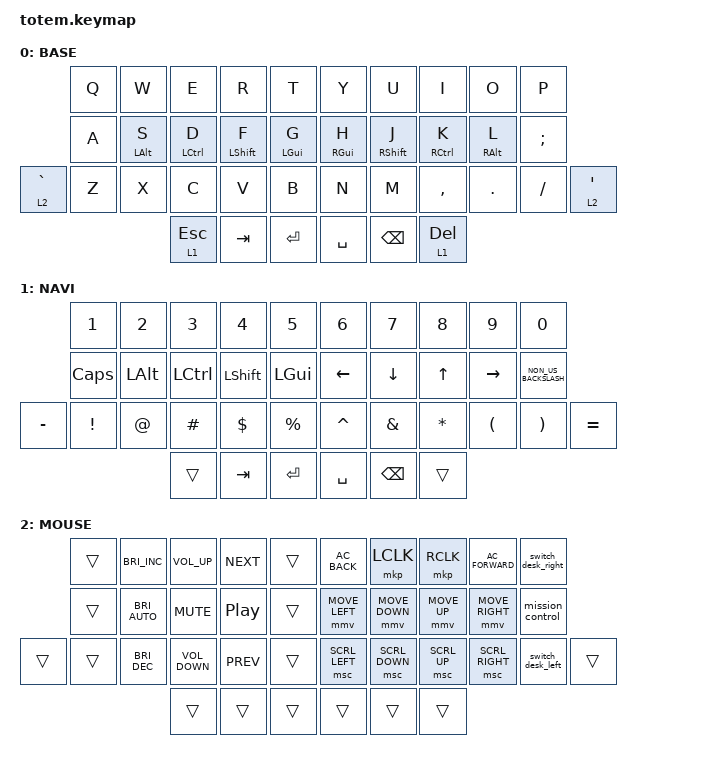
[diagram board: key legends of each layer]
//
//                                                        ▀▀▀▀▀     ▀▀▀▀▀          ▀▀█▀▀
//                                                        ▄▀▀▀▄  ▄  ▄▀▀▀▄  ▄  ▄▀▀▀▄  █  ▄▀▀▀▄
//                                                        █   █  █  █   █  █  █   █  █  █   █
//                                                         ▀▀▀   █   ▀▀▀   █   ▀▀▀   ▀   ▀▀▀
//                                                               █      ▄▄▄█▄▄▄    █   █  
//                                                               ▀      █  █  █     █▄█
//                                                             ▀▀▀▀▀    █  █  █      ▀
//                                                                      ▀  ▀  ▀
//
// ▄▄▄▄▄▄▄▄▄▄▄▄▄▄▄▄▄▄▄▄▄▄▄▄▄▄▄▄▄▄▄▄▄▄▄▄▄▄▄▄▄▄▄▄▄▄▄▄▄▄▄▄▄▄▄▄▄▄▄▄▄▄▄▄▄▄▄▄▄▄▄▄▄▄▄▄▄▄▄▄▄▄▄▄▄▄▄▄▄▄▄▄▄▄▄▄▄▄▄▄▄▄▄▄▄▄▄▄▄▄▄▄▄▄▄▄▄▄▄▄▄▄▄▄▄▄▄▄▄▄▄▄▄▄▄▄▄▄▄▄▄▄▄▄▄▄▄▄▄

#include <behaviors.dtsi>
#include <dt-bindings/zmk/bt.h>
#include <dt-bindings/zmk/keys.h>
#include <dt-bindings/zmk/pointing.h>

#define BASE 0
#define NAV  1
#define SYM  2
#define ADJ  3
#define TVP1 4
#define TVP2 5

&mt {
    quick-tap-ms = <100>;
    global-quick-tap;
    flavor = "tap-preferred";
    tapping-term-ms = <170>;
};

&mmv {
    acceleration-exponent = <1>;
    time-to-max-speed-ms = <300>;
    delay-ms = <0>;
};

&msc {
    acceleration-exponent = <0>;
    time-to-max-speed-ms = <300>;
    delay-ms = <0>;
};

/ {
    combos {
        compatible = "zmk,combos";

        spotlight_right {
            bindings = <&kp RG(SPACE)>;
            key-positions = <16 17 18>;
        };

        copy {
            bindings = <&kp LG(C)>;
            key-positions = <22 23>;
        };

        paste {
            bindings = <&kp LG(V)>;
            key-positions = <23 24>;
        };

        esc {
            bindings = <&kp ESC>;
            key-positions = <16 17>;
        };

        left_bootloader {
            bindings = <&bootloader>;
            key-positions = <34 10 11 12 13>;
        };

        right_boodloader {
            bindings = <&bootloader>;
            key-positions = <35 16 18 17 19>;
        };

        left_sysreset {
            bindings = <&sys_reset>;
            key-positions = <10 11 12 13 32>;
        };

        right_reset {
            bindings = <&sys_reset>;
            key-positions = <37 16 17 18 19>;
        };

        l2 {
            bindings = <&to 2>;
            key-positions = <3 1 2>;
        };

        l1 {
            bindings = <&to 1>;
            key-positions = <11 12 13>;
        };

        l0 {
            bindings = <&to 0>;
            key-positions = <22 23 24>;
        };

        open_brace {
            bindings = <&kp LEFT_PARENTHESIS>;
            key-positions = <3 4>;
        };

        Open_curly {
            bindings = <&kp LEFT_BRACE>;
            key-positions = <14 13>;
        };

        open_sq_bckt {
            bindings = <&kp LEFT_BRACKET>;
            key-positions = <24 25>;
        };

        close_bckt {
            bindings = <&kp RIGHT_PARENTHESIS>;
            key-positions = <5 6>;
        };

        close_curly_bckt {
            bindings = <&kp RIGHT_BRACE>;
            key-positions = <15 16>;
        };

        close_sq_bkt {
            bindings = <&kp RIGHT_BRACKET>;
            key-positions = <26 27>;
        };

        bluetooth_clear {
            bindings = <&bt BT_CLR_ALL>;
            key-positions = <20 31>;
        };

        bt_next {
            bindings = <&bt BT_NXT>;
            key-positions = <35 36 37>;
        };

        bt_prev {
            bindings = <&bt BT_PRV>;
            key-positions = <32 33 34>;
        };

        ai {
            bindings = <&kp LA(SPACE)>;
            key-positions = <6 7 8>;
        };
    };

    macros {
        mission_control: mission_control {
            compatible = "zmk,behavior-macro";
            #binding-cells = <0>;
            bindings = <&kp LC(UP)>;
            label = "MISSION_CONTROL";
        };

        switch_desk_left: switch_desk_left {
            compatible = "zmk,behavior-macro";
            #binding-cells = <0>;
            bindings = <&kp LC(LEFT)>;
            label = "SWITCH_DESK_LEFT";
        };

        switch_desk_right: switch_desk_right {
            compatible = "zmk,behavior-macro";
            #binding-cells = <0>;
            bindings = <&kp LC(RIGHT)>;
            label = "SWITCH_DESK_RIGHT";
        };
    };

    keymap {
        compatible = "zmk,keymap";

        // ▄▄▄▄▄▄▄▄▄▄▄▄▄▄▄▄▄▄▄▄▄▄▄▄▄▄▄▄▄▄▄▄▄▄▄▄▄▄▄▄▄▄▄▄▄▄▄▄▄▄▄▄▄▄▄▄▄▄▄▄▄▄▄▄▄▄▄▄▄▄▄▄▄▄▄▄▄▄▄▄▄▄▄▄▄▄▄▄▄▄▄▄▄▄▄▄▄▄▄▄▄▄▄▄▄▄▄▄▄▄▄▄▄▄▄▄▄▄▄▄▄▄▄▄▄▄▄▄▄▄▄▄▄▄▄▄▄▄▄▄▄▄▄▄▄▄▄▄▄

        base_layer {
            // ┏━━━━━━━━━━━━━━━━━━━━━━━━━━━━━━━━━━━━━━━┓

            label = "BASE";

            // ┗━━━━━━━━━━━━━━━━━━━━━━━━━━━━━━━━━━━━━━━┛
            //             ┏━━━━━━━━━━━┳━━━━━━━━━━━┳━━━━━━━━━━━┳━━━━━━━━━━━┳━━━━━━━━━━━┓   ┏━━━━━━━━━━━┳━━━━━━━━━━━┳━━━━━━━━━━━┳━━━━━━━━━━━┳━━━━━━━━━━━┓
            //             ┃     Q     ┃     W     ┃     F     ┃     P     ┃     G     ┃   ┃     J     ┃     L     ┃     U     ┃     Y     ┃     ;     ┃
            //             ┣━━━━━━━━━━━╋━━━━━━━━━━━╋━━━━━━━━━━━╋━━━━━━━━━━━╋━━━━━━━━━━━┫   ┣━━━━━━━━━━━╋━━━━━━━━━━━╋━━━━━━━━━━━╋━━━━━━━━━━━╋━━━━━━━━━━━┫
            //             ┃     A     ┃     R     ┃     S     ┃     T     ┃     D     ┃   ┃     H     ┃     N     ┃     E     ┃     I     ┃     O     ┃
            // ┏━━━━━━━━━━━╋━━━━━━━━━━━╋━━━━━━━━━━━╋━━━━━━━━━━━╋━━━━━━━━━━━╋━━━━━━━━━━━┫   ┣━━━━━━━━━━━╋━━━━━━━━━━━╋━━━━━━━━━━━╋━━━━━━━━━━━╋━━━━━━━━━━━╋━━━━━━━━━━━┓
            // ┃     Q     ┃     Z     ┃     X     ┃     C     ┃     V     ┃     B     ┃   ┃     K     ┃     M     ┃     ,     ┃     .     ┃     /     ┃     \     ┃
            // ┗━━━━━━━━━━━┻━━━━━━━━━━━┻━━━━━━━━━━━╋━━━━━━━━━━━╋━━━━━━━━━━━╋━━━━━━━━━━━┫   ┣━━━━━━━━━━━╋━━━━━━━━━━━╋━━━━━━━━━━━╋━━━━━━━━━━━┻━━━━━━━━━━━┻━━━━━━━━━━━┛
            //                                     ┃    DEL    ┃    TAB    ┃    SPC    ┃   ┃   ENTER   ┃           ┃   BSPC    ┃
            //                                     ┗━━━━━━━━━━━┻━━━━━━━━━━━┻━━━━━━━━━━━┛   ┗━━━━━━━━━━━┻━━━━━━━━━━━┻━━━━━━━━━━━┛

            bindings = <
             &kp Q  &kp W       &kp E         &kp R        &kp T         &kp Y       &kp U          &kp I         &kp O       &kp P
             &kp A  &mt LALT S  &mt LCTRL D   &mt LSHFT F  &mt LGUI G    &mt RGUI H  &mt RSHFT J    &mt RCTRL K   &mt RALT L  &kp SEMI
&lt 2 GRAVE  &kp Z  &kp X       &kp C         &kp V        &kp B         &kp N       &kp M          &kp COMMA     &kp DOT     &kp FSLH  &lt 2 SINGLE_QUOTE
                                &lt 1 ESCAPE  &kp TAB      &kp ENTER     &kp SPACE   &kp BACKSPACE  &lt 1 DELETE
            >;
        };

        nav_layer {
            // ┏━━━━━━━━━━━━━━━━━━━━━━━━━━━━━━━━━━━━━━━┓

            label = "NAVI";

            // ┗━━━━━━━━━━━━━━━━━━━━━━━━━━━━━━━━━━━━━━━┛
            //             ┏━━━━━━━━━━━┳━━━━━━━━━━━┳━━━━━━━━━━━┳━━━━━━━━━━━┳━━━━━━━━━━━┓   ┏━━━━━━━━━━━┳━━━━━━━━━━━┳━━━━━━━━━━━┳━━━━━━━━━━━┳━━━━━━━━━━━┓
            //             ┃           ┃           ┃     UP    ┃           ┃     {     ┃   ┃     }     ┃     7     ┃     8     ┃     9     ┃     +     ┃
            //             ┣━━━━━━━━━━━╋━━━━━━━━━━━╋━━━━━━━━━━━╋━━━━━━━━━━━╋━━━━━━━━━━━┫   ┣━━━━━━━━━━━╋━━━━━━━━━━━╋━━━━━━━━━━━╋━━━━━━━━━━━╋━━━━━━━━━━━┫
            //             ┃   SHIFT   ┃   LEFT    ┃    DOWN   ┃   RIGHT   ┃     [     ┃   ┃     ]     ┃     4     ┃     5     ┃     6     ┃     -     ┃
            // ┏━━━━━━━━━━━╋━━━━━━━━━━━╋━━━━━━━━━━━╋━━━━━━━━━━━╋━━━━━━━━━━━╋━━━━━━━━━━━┫   ┣━━━━━━━━━━━╋━━━━━━━━━━━╋━━━━━━━━━━━╋━━━━━━━━━━━╋━━━━━━━━━━━╋━━━━━━━━━━━┓
            // ┃           ┃           ┃   P UP    ┃  C LOCK   ┃  P DOWN   ┃     (     ┃   ┃     )     ┃     1     ┃     2     ┃     3     ┃     *     ┃           ┃
            // ┗━━━━━━━━━━━┻━━━━━━━━━━━┻━━━━━━━━━━━╋━━━━━━━━━━━╋━━━━━━━━━━━╋━━━━━━━━━━━┫   ┣━━━━━━━━━━━╋━━━━━━━━━━━╋━━━━━━━━━━━╋━━━━━━━━━━━┻━━━━━━━━━━━┻━━━━━━━━━━━┛
            //                                     ┃           ┃    TAB    ┃    SPC    ┃   ┃    DEL    ┃     0     ┃           ┃
            //                                     ┗━━━━━━━━━━━┻━━━━━━━━━━━┻━━━━━━━━━━━┛   ┗━━━━━━━━━━━┻━━━━━━━━━━━┻━━━━━━━━━━━┛

            bindings = <
           &kp NUMBER_1     &kp NUMBER_2  &kp NUMBER_3      &kp NUMBER_4    &kp NUMBER_5    &kp NUMBER_6    &kp NUMBER_7    &kp NUMBER_8  &kp NUMBER_9          &kp NUMBER_0
           &kp CAPS         &kp LEFT_ALT  &kp LEFT_CONTROL  &kp LEFT_SHIFT  &kp LGUI        &kp LEFT_ARROW  &kp DOWN_ARROW  &kp UP_ARROW  &kp RIGHT_ARROW       &kp NON_US_BACKSLASH
&kp MINUS  &kp EXCLAMATION  &kp AT_SIGN   &kp HASH          &kp DOLLAR      &kp PERCENT     &kp CARET       &kp AMPERSAND   &kp ASTERISK  &kp LEFT_PARENTHESIS  &kp RIGHT_PARENTHESIS  &kp EQUAL
                                          &trans            &kp TAB         &kp ENTER       &kp SPACE       &kp BACKSPACE   &trans
            >;
        };

        mouse {
            label = "MOUSE";
            bindings = <
        &trans  &kp C_BRIGHTNESS_INC   &kp C_VOLUME_UP    &kp C_NEXT  &trans    &kp C_AC_BACK   &mkp LCLK       &mkp RCLK     &kp C_AC_FORWARD  &switch_desk_right
        &trans  &kp C_BRIGHTNESS_AUTO  &kp K_MUTE         &kp C_PP    &trans    &mmv MOVE_LEFT  &mmv MOVE_DOWN  &mmv MOVE_UP  &mmv MOVE_RIGHT   &mission_control
&trans  &trans  &kp C_BRIGHTNESS_DEC   &kp C_VOLUME_DOWN  &kp C_PREV  &trans    &msc SCRL_LEFT  &msc SCRL_DOWN  &msc SCRL_UP  &msc SCRL_RIGHT   &switch_desk_left   &trans
                                       &trans             &trans      &trans    &trans          &trans          &trans
            >;
        };
    };
};
